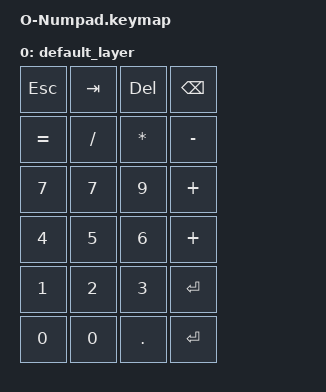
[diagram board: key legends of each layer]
#include <behaviors.dtsi>
#include <dt-bindings/zmk/keys.h>

/ {
    keymap {
        compatible = "zmk,keymap";

        default_layer { // Layer 0
            // -------------------------------------
            // |     Z     |     M     |     K     |
            // |     A     |     B     |     C     |
            // |     D     |     E     |     F     |
            bindings = <
                &kp ESC    &kp TAB    &kp DEL   &kp BSPC
                &kp =    &kp /    &kp *    &kp -
                &kp 7    &kp 7    &kp 9    &kp +
                &kp 4    &kp 5    &kp 6    &kp +
                &kp 1    &kp 2    &kp 3    &kp ENTER
                &kp 0    &kp 0    &kp .    &kp ENTER
            >;
        };
    };
 };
